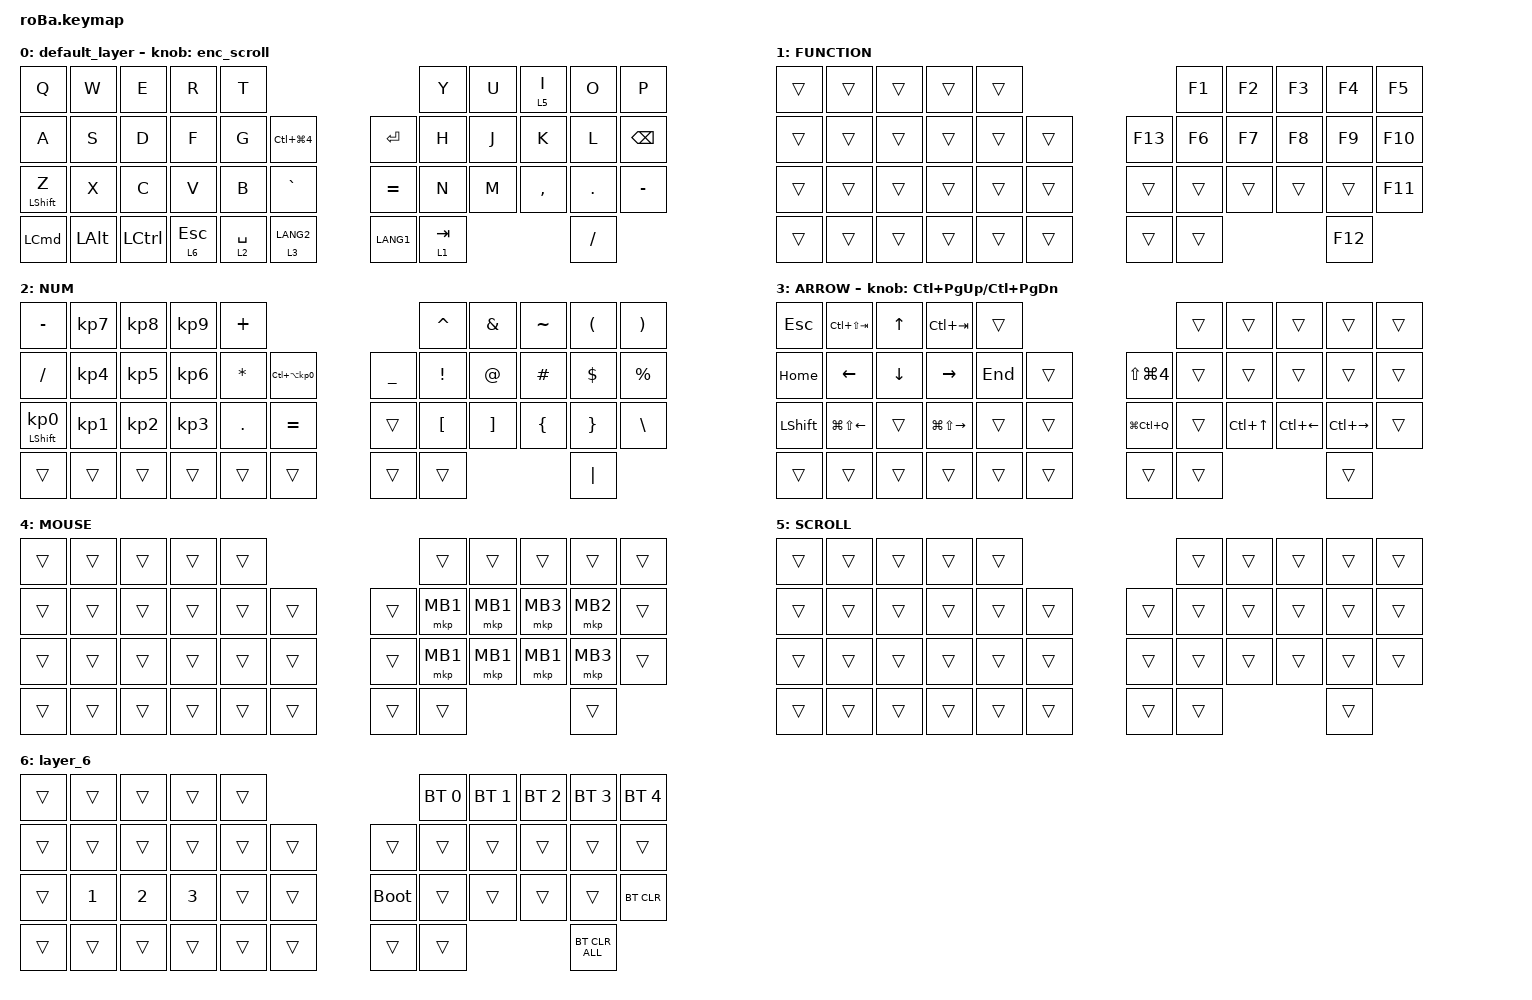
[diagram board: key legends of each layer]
#include <behaviors.dtsi>
#include <dt-bindings/zmk/bt.h>
#include <dt-bindings/zmk/keys.h>

// エンコーダー1ステップあたりのスクロール量（デフォルト10）。
// SCRL_UP/SCRL_DOWN を定義する pointing.h より前に置く必要がある。
#define ZMK_POINTING_DEFAULT_SCRL_VAL 80
#include <dt-bindings/zmk/pointing.h>

&mt {
    flavor = "balanced";
    quick-tap-ms = <0>;
};

&trackball {
    automouse-layer = <4>;
    scroll-layers = <5>;

    // arrows {
    //     layers = <3>;
    //     bindings =
    //         <&kp RIGHT_ARROW>,
    //         <&kp LEFT_ARROW>,
    //         <&kp UP_ARROW>,
    //         <&kp DOWN_ARROW>;
    //     tick = <10>;
    //     wait-ms = <5>;
    //     tap-ms = <5>;
    // };
};

/ {
    combos {
        compatible = "zmk,combos";

        tab {
            bindings = <&kp TAB>;
            key-positions = <11 12>;
        };

        shift_tab {
            bindings = <&kp LS(TAB)>;
            key-positions = <12 13>;
        };

        muhennkann {
            bindings = <&to_layer_0 INT_MUHENKAN>;
            key-positions = <11 10>;
        };

        double_quotation {
            bindings = <&kp DOUBLE_QUOTES>;
            key-positions = <20 21>;
        };

        eq {
            bindings = <&kp EQUAL>;
            key-positions = <24 25>;
        };
    };

    macros {
        to_layer_0: to_layer_0 {
            compatible = "zmk,behavior-macro-one-param";
            #binding-cells = <1>;
            bindings = <&to 0 &macro_param_1to1 &kp MACRO_PLACEHOLDER>;
            label = "TO_LAYER_0";
        };
    };

    behaviors {
        lt_to_layer_0: lt_to_layer_0 {
            compatible = "zmk,behavior-hold-tap";
            label = "LAYER_TAP_TO_0";
            bindings = <&mo>, <&to_layer_0>;

            #binding-cells = <2>;
            tapping-term-ms = <200>;
        };

        enc_scroll: enc_scroll {
            compatible = "zmk,behavior-sensor-rotate";
            label = "ENC_SCROLL";
            #sensor-binding-cells = <0>;
            bindings = <&msc SCRL_UP>, <&msc SCRL_DOWN>;

            tap-ms = <20>;
        };
    };

    keymap {
        compatible = "zmk,keymap";

        default_layer {
            bindings = <
&kp Q             &kp W         &kp E             &kp R                 &kp T                                                       &kp Y      &kp U  &lt 5 I    &kp O    &kp P
&kp A             &kp S         &kp D             &kp F                 &kp G        &kp LC(LG(NUMBER_4))            &kp ENTER      &kp H      &kp J  &kp K      &kp L    &kp BACKSPACE
&mt LEFT_SHIFT Z  &kp X         &kp C             &kp V                 &kp B        &kp GRAVE                       &kp EQUAL      &kp N      &kp M  &kp COMMA  &kp DOT  &kp MINUS
&kp LEFT_COMMAND  &kp LEFT_ALT  &kp LEFT_CONTROL  &lt_to_layer_0 6 ESC  &lt 2 SPACE  &lt_to_layer_0 3 LANG2      &kp LANG1  &lt 1 TAB                             &kp SLASH
            >;

            sensor-bindings = <&enc_scroll>;
        };

        FUNCTION {
            bindings = <
&trans  &trans  &trans  &trans  &trans                       &kp F1  &kp F2  &kp F3  &kp F4  &kp F5
&trans  &trans  &trans  &trans  &trans  &trans      &kp F13  &kp F6  &kp F7  &kp F8  &kp F9  &kp F10
&trans  &trans  &trans  &trans  &trans  &trans      &trans   &trans  &trans  &trans  &trans  &kp F11
&trans  &trans  &trans  &trans  &trans  &trans      &trans   &trans                          &kp F12
            >;
        };

        NUM {
            bindings = <
&kp MINUS                   &kp KP_NUMBER_7  &kp KP_NUMBER_8  &kp KP_NUMBER_9  &kp PLUS                                                   &kp CARET         &kp AMPERSAND      &kp TILDE       &kp LEFT_PARENTHESIS  &kp RIGHT_PARENTHESIS
&kp SLASH                   &kp KP_NUMBER_4  &kp KP_NUMBER_5  &kp KP_NUMBER_6  &kp ASTERISK  &kp LC(LA(KP_NUMBER_0))      &kp UNDERSCORE  &kp EXCLAMATION   &kp AT_SIGN        &kp HASH        &kp DOLLAR            &kp PERCENT
&mt LEFT_SHIFT KP_NUMBER_0  &kp KP_NUMBER_1  &kp KP_NUMBER_2  &kp KP_NUMBER_3  &kp PERIOD    &kp EQUAL                    &trans          &kp LEFT_BRACKET  &kp RIGHT_BRACKET  &kp LEFT_BRACE  &kp RIGHT_BRACE       &kp BACKSLASH
&trans                      &trans           &trans           &trans           &trans        &trans                       &trans          &trans                                                                     &kp PIPE
            >;
        };

        ARROW {
            bindings = <
&kp ESCAPE      &kp LC(LS(TAB))         &kp UP_ARROW    &kp LC(TAB)              &trans                                     &trans  &trans            &trans              &trans               &trans
&kp HOME        &kp LEFT_ARROW          &kp DOWN_ARROW  &kp RIGHT_ARROW          &kp END  &trans      &kp LS(LG(NUMBER_4))  &trans  &trans            &trans              &trans               &trans
&kp LEFT_SHIFT  &kp LG(LS(LEFT_ARROW))  &trans          &kp LG(LS(RIGHT_ARROW))  &trans   &trans      &kp LG(LC(Q))         &trans  &kp LC(UP_ARROW)  &kp LC(LEFT_ARROW)  &kp LC(RIGHT_ARROW)  &trans
&trans          &trans                  &trans          &trans                   &trans   &trans      &trans                &trans                                                             &trans
            >;

            sensor-bindings = <&inc_dec_kp LC(PAGE_UP) LC(PAGE_DOWN)>;
        };

        MOUSE {
            bindings = <
&trans  &trans  &trans  &trans  &trans                      &trans    &trans    &trans    &trans    &trans
&trans  &trans  &trans  &trans  &trans  &trans      &trans  &mkp MB1  &mkp MB1  &mkp MB3  &mkp MB2  &trans
&trans  &trans  &trans  &trans  &trans  &trans      &trans  &mkp MB1  &mkp MB1  &mkp MB1  &mkp MB3  &trans
&trans  &trans  &trans  &trans  &trans  &trans      &trans  &trans                                  &trans
            >;
        };

        SCROLL {
            bindings = <
&trans  &trans  &trans  &trans  &trans                      &trans  &trans  &trans  &trans  &trans
&trans  &trans  &trans  &trans  &trans  &trans      &trans  &trans  &trans  &trans  &trans  &trans
&trans  &trans  &trans  &trans  &trans  &trans      &trans  &trans  &trans  &trans  &trans  &trans
&trans  &trans  &trans  &trans  &trans  &trans      &trans  &trans                          &trans
            >;
        };

        layer_6 {
            bindings = <
&trans  &trans        &trans        &trans        &trans                           &bt BT_SEL 0  &bt BT_SEL 1  &bt BT_SEL 2  &bt BT_SEL 3  &bt BT_SEL 4
&trans  &trans        &trans        &trans        &trans  &trans      &trans       &trans        &trans        &trans        &trans        &trans
&trans  &kp NUMBER_1  &kp NUMBER_2  &kp NUMBER_3  &trans  &trans      &bootloader  &trans        &trans        &trans        &trans        &bt BT_CLR
&trans  &trans        &trans        &trans        &trans  &trans      &trans       &trans                                                  &bt BT_CLR_ALL
            >;
        };
    };
};
